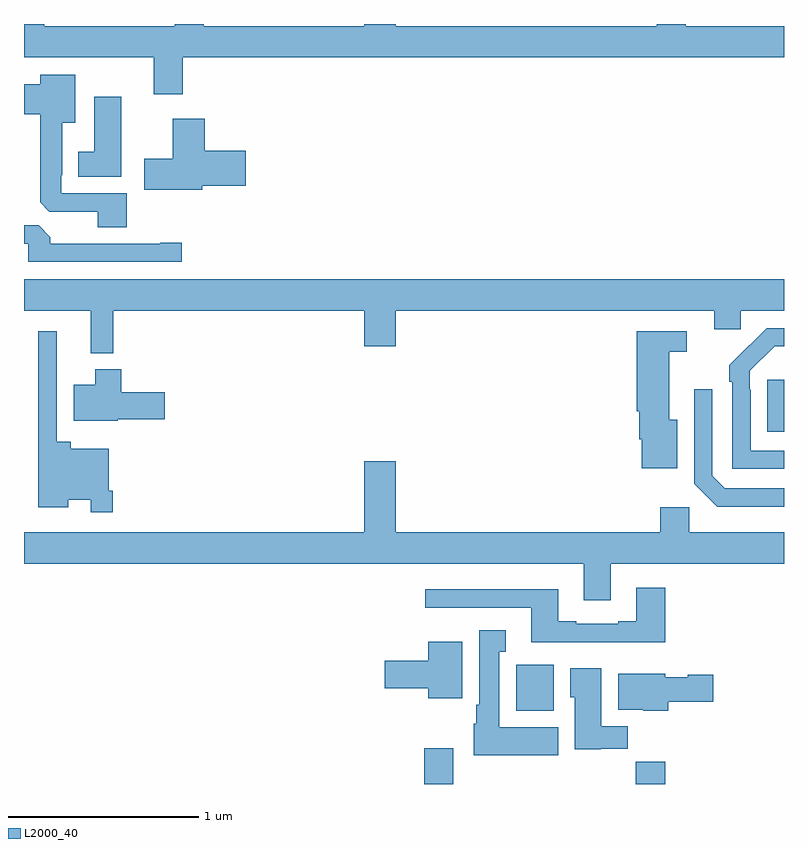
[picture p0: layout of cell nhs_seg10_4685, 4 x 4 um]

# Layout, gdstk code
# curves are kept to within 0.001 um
import gdstk
lib = gdstk.Library(unit=1e-6, precision=1e-09)
def R(c, l, rs):  # rectangles x0, y0, x1, y1
    for r in rs: c.add(gdstk.rectangle(r[:2], r[2:], *l))
def P(c, l, *ps):  # polygons
    for p in ps: c.add(gdstk.Polygon(p, *l))
L2000_40 = (2000, 40)

nhs_seg10_4685 = lib.new_cell('nhs_seg10_4685')
R(nhs_seg10_4685, L2000_40, [(381.107,1288.5,381.259,1288.687), (382.219,1288.5,382.376,1288.616), (381.59,1288.886,381.787,1289.128), (382.913,1290.353,383,1290.628)])
P(nhs_seg10_4685, L2000_40, [(379.835,1292.324),(383,1292.324),(383,1292.488),(382.482,1292.488),(382.482,1292.5),(382.331,1292.5),(382.331,1292.488),(380.956,1292.488),(380.956,1292.5),(380.792,1292.5),(380.792,1292.488),(379.946,1292.488),(379.946,1292.5),(379.793,1292.5),(379.793,1292.488),(379.106,1292.488),(379.106,1292.5),(379,1292.5),(379,1292.324),(379.682,1292.324),(379.682,1292.13),(379.835,1292.13)],
  [(379.541,1291.608),(379.197,1291.608),(379.197,1291.705),(379.201,1291.705),(379.201,1291.979),(379.27,1291.979),(379.27,1292.233),(379.085,1292.233),(379.085,1292.182),(379,1292.182),(379,1292.024),(379.085,1292.024),(379.085,1291.561),(379.134,1291.512),(379.388,1291.512),(379.388,1291.429),(379.541,1291.429)],
  [(379.513,1292.116),(379.37,1292.116),(379.37,1291.828),(379.286,1291.828),(379.286,1291.697),(379.513,1291.697)],
  [(379.939,1291.649),(380.167,1291.649),(380.167,1291.832),(379.952,1291.832),(379.952,1292.002),(379.784,1292.002),(379.784,1291.791),(379.632,1291.791),(379.632,1291.628),(379.939,1291.628)],
  [(379.831,1291.349),(379.718,1291.349),(379.718,1291.344),(379.139,1291.344),(379.139,1291.378),(379.077,1291.44),(379,1291.44),(379,1291.344),(379.023,1291.344),(379.023,1291.248),(379.831,1291.248)],
  [(379.469,1290.992),(380.792,1290.992),(380.792,1290.804),(380.956,1290.804),(380.956,1290.992),(382.634,1290.992),(382.634,1290.894),(382.773,1290.894),(382.773,1290.992),(383,1290.992),(383,1291.156),(379,1291.156),(379,1290.992),(379.352,1290.992),(379.352,1290.767),(379.469,1290.767)],
  [(383,1290.255),(382.824,1290.255),(382.824,1290.575),(382.821,1290.575),(382.821,1290.675),(382.95,1290.804),(383,1290.804),(383,1290.9),(382.91,1290.9),(382.713,1290.705),(382.713,1290.617),(382.728,1290.617),(382.728,1290.159),(383,1290.159)],
  [(379.466,1290.043),(379.446,1290.043),(379.446,1290.265),(379.247,1290.265),(379.247,1290.301),(379.173,1290.301),(379.173,1290.883),(379.076,1290.883),(379.076,1289.957),(379.234,1289.957),(379.234,1289.996),(379.35,1289.996),(379.35,1289.931),(379.466,1289.931)],
  [(382.438,1290.418),(382.396,1290.418),(382.396,1290.774),(382.489,1290.774),(382.489,1290.882),(382.226,1290.882),(382.226,1290.462),(382.238,1290.462),(382.238,1290.314),(382.25,1290.314),(382.25,1290.161),(382.438,1290.161)],
  [(379.494,1290.419),(379.741,1290.419),(379.741,1290.561),(379.511,1290.561),(379.511,1290.682),(379.376,1290.682),(379.376,1290.601),(379.262,1290.601),(379.262,1290.413),(379.494,1290.413)],
  [(383,1290.057),(382.689,1290.057),(382.623,1290.123),(382.623,1290.577),(382.527,1290.577),(382.527,1290.081),(382.648,1289.96),(383,1289.96)],
  [(382.087,1289.66),(383,1289.66),(383,1289.824),(382.5,1289.824),(382.5,1289.956),(382.349,1289.956),(382.349,1289.824),(380.956,1289.824),(380.956,1290.199),(380.792,1290.199),(380.792,1289.824),(379,1289.824),(379,1289.66),(381.947,1289.66),(381.947,1289.466),(382.087,1289.466)],
  [(382.376,1289.533),(382.223,1289.533),(382.223,1289.356),(382.127,1289.356),(382.127,1289.343),(381.907,1289.343),(381.907,1289.356),(381.811,1289.356),(381.811,1289.524),(381.111,1289.524),(381.111,1289.427),(381.671,1289.427),(381.671,1289.246),(382.376,1289.246)],
  [(381.811,1288.798),(381.502,1288.798),(381.502,1289.195),(381.535,1289.195),(381.535,1289.308),(381.395,1289.308),(381.395,1288.918),(381.38,1288.918),(381.38,1288.818),(381.368,1288.818),(381.368,1288.652),(381.811,1288.652)],
  [(381.307,1289.248),(381.128,1289.248),(381.128,1289.15),(380.898,1289.15),(380.898,1289.003),(381.128,1289.003),(381.128,1288.952),(381.307,1288.952)],
  [(382.035,1288.686),(382.178,1288.686),(382.178,1288.804),(382.039,1288.804),(382.039,1289.11),(381.875,1289.11),(381.875,1288.956),(381.899,1288.956),(381.899,1288.682),(382.035,1288.682)],
  [(382.391,1288.933),(382.627,1288.933),(382.627,1289.075),(382.494,1289.075),(382.494,1289.062),(382.374,1289.062),(382.374,1289.08),(382.127,1289.08),(382.127,1288.892),(382.26,1288.892),(382.26,1288.886),(382.391,1288.886)])

lib.write_gds('nhs_seg10_4685.gds')
